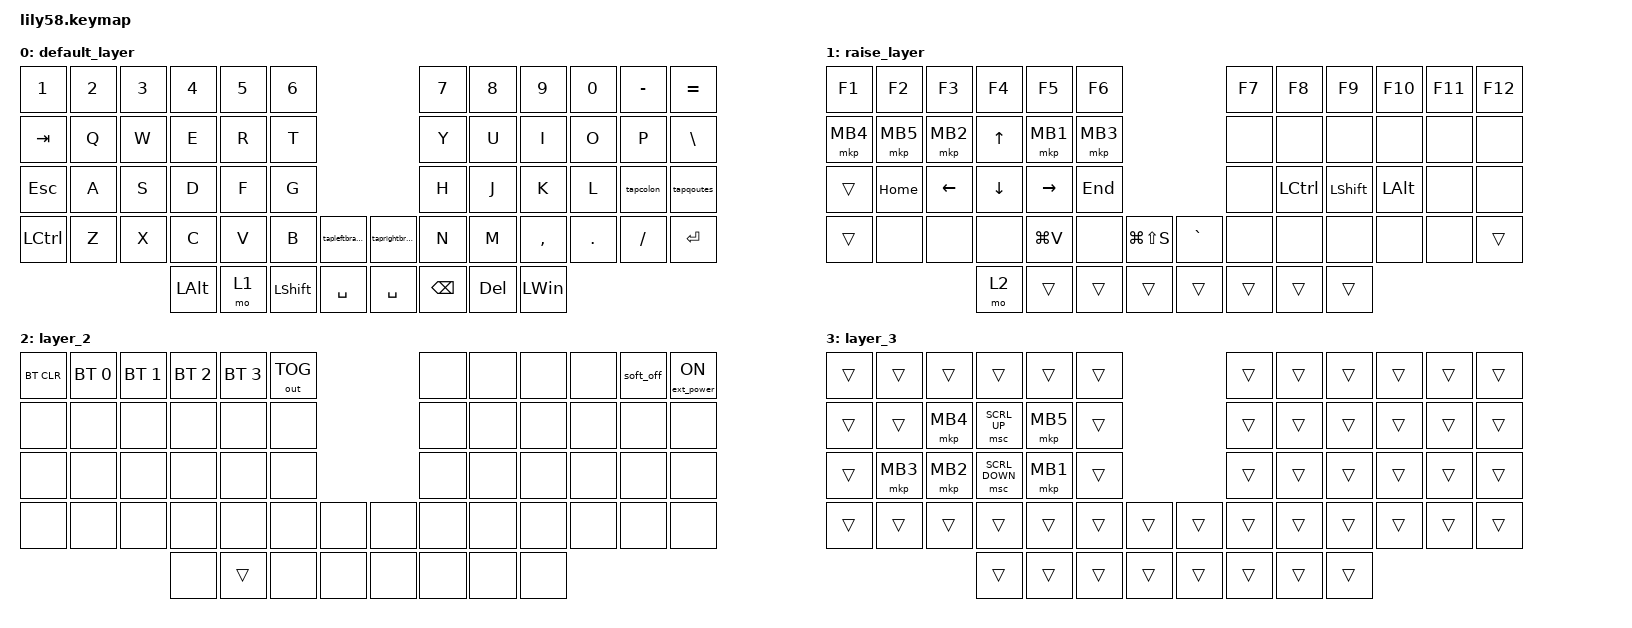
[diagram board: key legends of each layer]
/*
 * Copyright (c) 2020 The ZMK Contributors
 *
 * SPDX-License-Identifier: MIT
 */

#include <dt-bindings/zmk/mouse.h>
#include <behaviors.dtsi>
#include <dt-bindings/zmk/bt.h>
#include <dt-bindings/zmk/ext_power.h>
#include <dt-bindings/zmk/keys.h>
#include <dt-bindings/zmk/outputs.h>
#include <dt-bindings/zmk/pointing.h>

/ {
    combos { compatible = "zmk,combos"; };

    behaviors {
        holdtapmod: holdtapmod {
            compatible = "zmk,behavior-hold-tap";
            label = "HOLDTAPMOD";
            bindings = <&kp>, <&kp>;

            #binding-cells = <2>;
            tapping-term-ms = <30>;
        };

        tapqoutes: tapqoutes {
            compatible = "zmk,behavior-tap-dance";
            label = "TAPQOUTES";
            #binding-cells = <0>;
            bindings = <&kp SINGLE_QUOTE>, <&kp DOUBLE_QUOTES>, <&kp GRAVE>;
        };

        tapholdbt: tapholdbt {
            compatible = "zmk,behavior-hold-tap";
            label = "TAPHOLDBT";
            bindings = <&bt>, <&bt>;

            #binding-cells = <2>;
            tapping-term-ms = <30>;
        };

        layertap: layertap {
            compatible = "zmk,behavior-tap-dance";
            label = "LAYERTAP";
            #binding-cells = <0>;
            bindings = <&to 0>, <&to 1>, <&to 2>;
        };

        holdlayertapkp: holdlayertapkp {
            compatible = "zmk,behavior-hold-tap";
            label = "HOLDLAYERTAPKP";
            bindings = <&kp>, <&layertap>;

            #binding-cells = <2>;
            tapping-term-ms = <200>;
            flavor = "tap-preferred";
        };

        tapbracket: tapbracket {
            compatible = "zmk,behavior-tap-dance";
            label = "TAPBRACKET";
            #binding-cells = <0>;
            bindings = <&kp LEFT_BRACKET>, <&kp RIGHT_BRACKET>;
        };

        tapbrace: tapbrace {
            compatible = "zmk,behavior-tap-dance";
            label = "TAPBRACE";
            #binding-cells = <0>;
            bindings = <&kp LEFT_BRACE>, <&kp RIGHT_BRACE>;
        };

        tapparenthesis: tapparenthesis {
            compatible = "zmk,behavior-tap-dance";
            label = "TAPPARENTHESIS";
            #binding-cells = <0>;
            bindings = <&kp LEFT_PARENTHESIS>, <&kp RIGHT_PARENTHESIS>;
        };

        tapgreaterthan: tapgreaterthan {
            compatible = "zmk,behavior-tap-dance";
            label = "TAPGREATERTHAN";
            #binding-cells = <0>;
            bindings = <&kp PERIOD>, <&kp GREATER_THAN>;
        };

        tapslash: tapslash {
            compatible = "zmk,behavior-tap-dance";
            label = "TAPSLASH";
            #binding-cells = <0>;
            bindings = <&kp SLASH>, <&kp BACKSLASH>;
        };

        tappaste: tappaste {
            compatible = "zmk,behavior-tap-dance";
            label = "TAPPASTE";
            #binding-cells = <0>;
            bindings = <&kp LC(V)>, <&kp LG(V)>;
        };

        tapend: tapend {
            compatible = "zmk,behavior-tap-dance";
            label = "TAPEND";
            #binding-cells = <0>;
            bindings = <&kp LC(END)>, <&kp LG(K_BACK)>;
        };

        taphome: taphome {
            compatible = "zmk,behavior-tap-dance";
            label = "TAPHOME";
            #binding-cells = <0>;
            bindings = <&kp LC(HOME)>, <&kp LG(HOME)>;
        };

        tapcolon: tapcolon {
            compatible = "zmk,behavior-tap-dance";
            label = "TAPCOLON";
            #binding-cells = <0>;
            bindings = <&kp SEMICOLON>, <&kp COLON>, <&kp EQUAL>;
        };

        tapunderscore: tapunderscore {
            compatible = "zmk,behavior-tap-dance";
            label = "TAPUNDERSCORE";
            #binding-cells = <0>;
            bindings = <&kp MINUS>, <&kp UNDERSCORE>;
        };

        tapquestion: tapquestion {
            compatible = "zmk,behavior-tap-dance";
            label = "TAPQUESTION";
            #binding-cells = <0>;
            bindings = <&kp SLASH>, <&kp QUESTION>;
        };

        taplessthan: taplessthan {
            compatible = "zmk,behavior-tap-dance";
            label = "TAPLESSTHAN";
            #binding-cells = <0>;
            bindings = <&kp COMMA>, <&kp LESS_THAN>;
        };

        tapleftbracket: tapleftbracket {
            compatible = "zmk,behavior-tap-dance";
            label = "TAPLEFTBRACKET";
            #binding-cells = <0>;
            bindings = <&kp LEFT_BRACKET>, <&kp LEFT_BRACE>;
        };

        taprightbracket: taprightbracket {
            compatible = "zmk,behavior-tap-dance";
            label = "TAPRIGHTBRACKET";
            #binding-cells = <0>;
            bindings = <&kp RIGHT_BRACKET>, <&kp RIGHT_BRACE>;
        };

        tapwin: tapwin {
            compatible = "zmk,behavior-tap-dance";
            label = "TAPWIN";
            #binding-cells = <0>;
            bindings = <&kp LEFT_WIN>, <&kp ESCAPE>;
        };

        mouse: mouse {
            compatible = "zmk,behavior-hold-tap";
            label = "MOUSE";
            bindings = <&mo>, <&kp>;

            #binding-cells = <2>;
            tapping-term-ms = <30>;
        };
    };

    keymap {
        compatible = "zmk,keymap";

        default_layer {
            // ------------------------------------------------------------------------------------------------------------
            // |  ESC  |  1  |  2  |  3   |  4   |  5   |                   |  6   |  7    |  8    |  9   |   0   |   `   |
            // |  TAB  |  Q  |  W  |  E   |  R   |  T   |                   |  Y   |  U    |  I    |  O   |   P   |   -   |
            // |  CTRL |  A  |  S  |  D   |  F   |  G   |                   |  H   |  J    |  K    |  L   |   ;   |   '   |
            // | SHIFT |  Z  |  X  |  C   |  V   |  B   |   "["  |  |  "]"  |  N   |  M    |  ,    |  .   |   /   | SHIFT |
            //                     | ALT  | GUI  | LOWER|  SPACE |  | ENTER | RAISE| BSPC  | GUI   |

            bindings = <
&kp NUMBER_1      &kp NUMBER_2  &kp NUMBER_3  &kp NUMBER_4  &kp N5  &kp NUMBER_6                                         &kp N7         &kp N8   &kp N9        &kp N0   &kp MINUS  &kp EQUAL
&kp TAB           &kp Q         &kp W         &kp E         &kp R   &kp T                                                &kp Y          &kp U    &kp I         &kp O    &kp P      &kp BACKSLASH
&kp ESCAPE        &kp A         &kp S         &kp D         &kp F   &kp G                                                &kp H          &kp J    &kp K         &kp L    &tapcolon  &tapqoutes
&kp LEFT_CONTROL  &kp Z         &kp X         &kp C         &kp V   &kp B           &tapleftbracket    &taprightbracket  &kp N          &kp M    &kp COMMA     &kp DOT  &kp SLASH  &kp ENTER
                                              &kp LALT      &mo 1   &kp LEFT_SHIFT  &kp SPACE          &kp SPACE         &kp BACKSPACE  &kp DEL  &kp LEFT_WIN
            >;
        };

        raise_layer {
            // ------------------------------------------------------------------------------------------------------------
            // | BTCLR | BT1 | BT2 |  BT3 |  BT4 |  BT5 |                   |      |       |       |      |       |       |
            // |  F1   |  F2 |  F3 |  F4  |  F5  |  F6  |                   |  F7  |  F8   |  F9   |  F10 |  F11  |  F12  |
            // |   `   |  !  |  @  |  #   |  $   |  %   |                   |  ^   |  &    |  *    |  (   |   )   |   ~   |
            // |       |     |     |      |      |      |        |  |       |      |  _    |  +    |  {   |   }   |  "|"  |
            //                     |      |      |      |        |  |       |      |       |       |

            bindings = <
&kp F1    &kp F2    &kp F3    &kp F4        &kp F5     &kp F6                                &kp F7  &kp F8            &kp F9          &kp F10       &kp F11  &kp F12
&mkp MB4  &mkp MB5  &mkp MB2  &kp UP_ARROW  &mkp MB1   &mkp MB3                              &none   &none             &none           &none         &none    &none
&trans    &kp HOME  &kp LEFT  &kp DOWN      &kp RIGHT  &kp END                               &none   &kp LEFT_CONTROL  &kp LEFT_SHIFT  &kp LEFT_ALT  &none    &none
&trans    &none     &none     &none         &kp LG(V)  &none     &kp LG(LS(S))    &kp GRAVE  &none   &none             &none           &none         &none    &trans
                              &mo 2         &trans     &trans    &trans           &trans     &trans  &trans            &trans
            >;
        };

        layer_2 {
            bindings = <
&bt BT_CLR  &bt BT_SEL 0  &bt BT_SEL 1  &bt BT_SEL 2  &bt BT_SEL 3  &out OUT_TOG                  &none  &none  &none  &none  &soft_off  &ext_power EP_ON
&none       &none         &none         &none         &none         &none                         &none  &none  &none  &none  &none      &none
&none       &none         &none         &none         &none         &none                         &none  &none  &none  &none  &none      &none
&none       &none         &none         &none         &none         &none         &none    &none  &none  &none  &none  &none  &none      &none
                                        &none         &trans        &none         &none    &none  &none  &none  &none
            >;
        };

        layer_3 {
            bindings = <
&trans  &trans    &trans    &trans          &trans    &trans                    &trans  &trans  &trans  &trans  &trans  &trans
&trans  &trans    &mkp MB4  &msc SCRL_UP    &mkp MB5  &trans                    &trans  &trans  &trans  &trans  &trans  &trans
&trans  &mkp MB3  &mkp MB2  &msc SCRL_DOWN  &mkp MB1  &trans                    &trans  &trans  &trans  &trans  &trans  &trans
&trans  &trans    &trans    &trans          &trans    &trans  &trans    &trans  &trans  &trans  &trans  &trans  &trans  &trans
                            &trans          &trans    &trans  &trans    &trans  &trans  &trans  &trans
            >;
        };
    };
};
